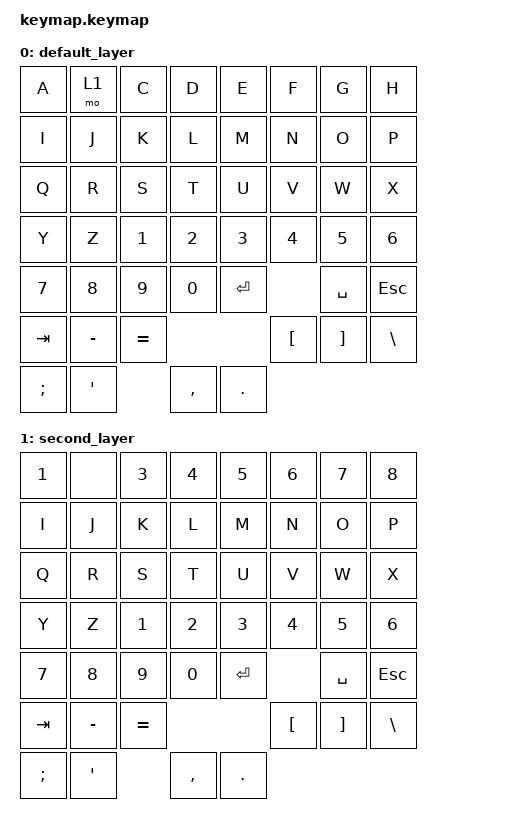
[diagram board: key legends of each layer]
/ {
    keymap {
        compatible = "zmk,keymap";

        default_layer {
            bindings = <
                &kp A  &mo 1  &kp C  &kp D  &kp E  &kp F  &kp G  &kp H
                &kp I  &kp J  &kp K  &kp L  &kp M  &kp N  &kp O  &kp P
                &kp Q  &kp R  &kp S  &kp T  &kp U  &kp V  &kp W  &kp X
                &kp Y  &kp Z  &kp 1  &kp 2  &kp 3  &kp 4  &kp 5  &kp 6
                &kp 7  &kp 8  &kp 9  &kp 0  &kp ENTER  &kp SPACE  &kp ESC
                &kp TAB  &kp MINUS  &kp EQUAL  &kp LBKT  &kp RBKT  &kp BSLH
                &kp SEMI  &kp QUOT  &kp COMMA  &kp DOT
            >;
        };
        second_layer {
          bindings = <
                &kp 1  &none  &kp 3  &kp 4  &kp 5  &kp 6  &kp 7  &kp 8
                &kp I  &kp J  &kp K  &kp L  &kp M  &kp N  &kp O  &kp P
                &kp Q  &kp R  &kp S  &kp T  &kp U  &kp V  &kp W  &kp X
                &kp Y  &kp Z  &kp 1  &kp 2  &kp 3  &kp 4  &kp 5  &kp 6
                &kp 7  &kp 8  &kp 9  &kp 0  &kp ENTER  &kp SPACE  &kp ESC
                &kp TAB  &kp MINUS  &kp EQUAL  &kp LBKT  &kp RBKT  &kp BSLH
                &kp SEMI  &kp QUOT  &kp COMMA  &kp DOT
            >;    };
};
